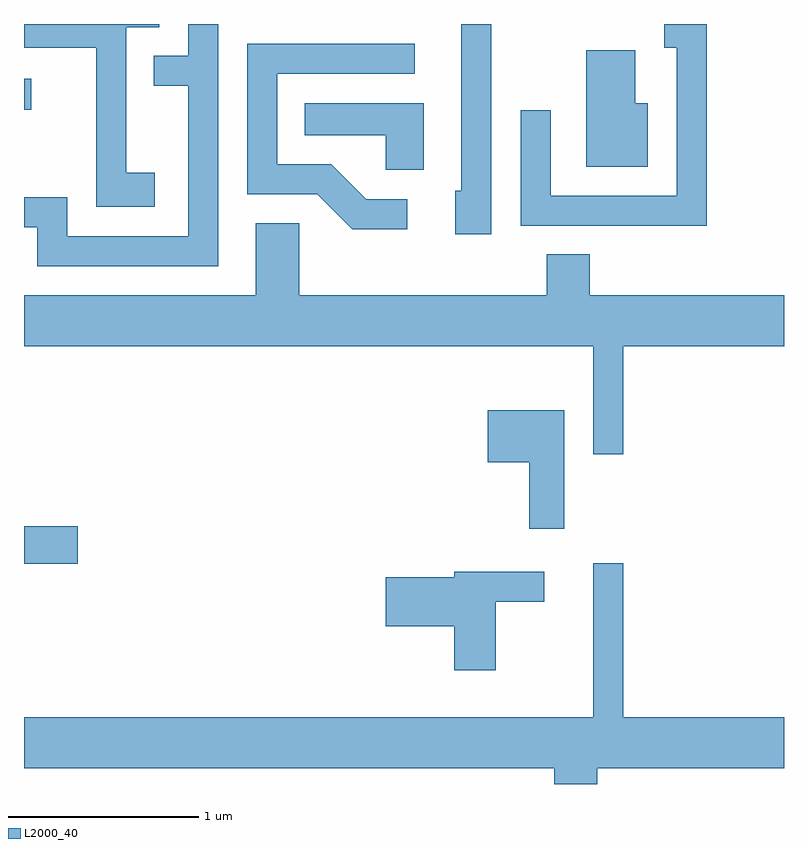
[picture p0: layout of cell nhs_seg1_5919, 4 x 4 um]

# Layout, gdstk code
import gdstk
lib = gdstk.Library(unit=1e-6, precision=1e-09)
def R(c, l, rs):  # rectangles x0, y0, x1, y1
    for r in rs: c.add(gdstk.rectangle(r[:2], r[2:], *l))
def P(c, l, *ps):  # polygons
    for p in ps: c.add(gdstk.Polygon(p, *l))
L2000_40 = (2000, 40)

nhs_seg1_5919 = lib.new_cell('nhs_seg1_5919')
R(nhs_seg1_5919, L2000_40, [(363.611,902.871,363.894,903.069), (363.611,905.261,363.648,905.424)])
P(nhs_seg1_5919, L2000_40, [(364.634,905.712),(364.476,905.712),(364.476,905.544),(364.293,905.544),(364.293,905.386),(364.476,905.386),(364.476,904.594),(363.839,904.594),(363.839,904.799),(363.611,904.799),(363.611,904.641),(363.681,904.641),(363.681,904.436),(364.634,904.436)],
  [(366.069,905.712),(365.911,905.712),(365.911,904.834),(365.881,904.834),(365.881,904.606),(366.069,904.606)],
  [(367.204,905.712),(366.981,905.712),(366.981,905.586),(367.046,905.586),(367.046,904.809),(366.384,904.809),(366.384,905.258),(366.226,905.258),(366.226,904.651),(367.204,904.651)],
  [(364.299,904.929),(364.149,904.929),(364.149,905.696),(364.324,905.696),(364.324,905.712),(363.611,905.712),(363.611,905.586),(363.991,905.586),(363.991,904.751),(364.299,904.751)],
  [(365.628,904.789),(365.412,904.789),(365.227,904.974),(364.944,904.974),(364.944,905.451),(365.668,905.451),(365.668,905.609),(364.786,905.609),(364.786,904.816),(365.154,904.816),(365.339,904.631),(365.628,904.631)],
  [(366.894,905.294),(366.829,905.294),(366.829,905.574),(366.571,905.574),(366.571,904.961),(366.894,904.961)],
  [(365.714,905.294),(365.088,905.294),(365.088,905.126),(365.516,905.126),(365.516,904.946),(365.714,904.946)],
  [(366.764,904.016),(367.611,904.016),(367.611,904.284),(366.589,904.284),(366.589,904.499),(366.361,904.499),(366.361,904.284),(365.059,904.284),(365.059,904.664),(364.831,904.664),(364.831,904.284),(363.611,904.284),(363.611,904.016),(366.606,904.016),(366.606,903.448),(366.764,903.448)],
  [(366.454,903.679),(366.051,903.679),(366.051,903.406),(366.271,903.406),(366.271,903.056),(366.454,903.056)],
  [(366.629,901.796),(367.611,901.796),(367.611,902.064),(366.764,902.064),(366.764,902.873),(366.606,902.873),(366.606,902.064),(363.611,902.064),(363.611,901.796),(366.401,901.796),(366.401,901.712),(366.629,901.712)],
  [(366.094,902.671),(366.348,902.671),(366.348,902.829),(365.876,902.829),(365.876,902.799),(365.516,902.799),(365.516,902.541),(365.876,902.541),(365.876,902.311),(366.094,902.311)])

lib.write_gds('nhs_seg1_5919.gds')
